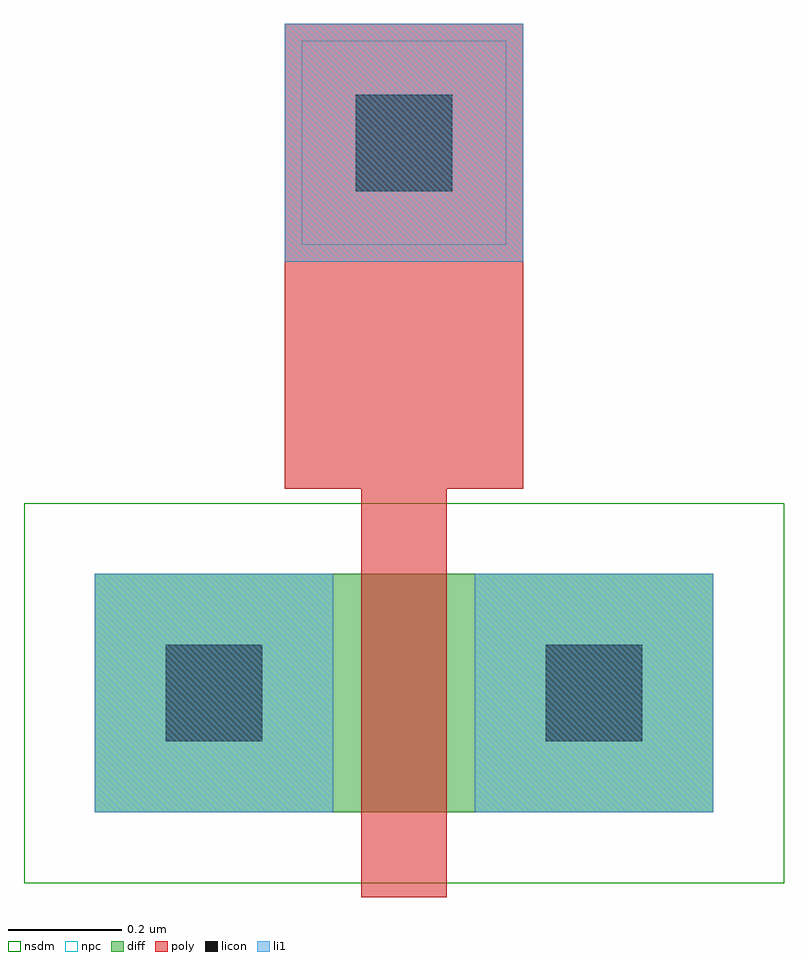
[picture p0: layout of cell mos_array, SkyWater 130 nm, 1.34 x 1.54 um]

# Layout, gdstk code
import gdstk
lib = gdstk.Library(unit=1e-6, precision=1e-09)
def R(c, l, rs):  # rectangles x0, y0, x1, y1
    for r in rs: c.add(gdstk.rectangle(r[:2], r[2:], *l))
diff = (65, 20)
poly = (66, 20)
licon = (66, 44)
li1 = (67, 20)
nsdm = (93, 44)
npc = (95, 20)

mos_array = lib.new_cell('mos_array')
R(mos_array, diff, [(0,0,1.09,0.42)])
R(mos_array, poly, [(0.47,-0.15,0.62,0.42), (0.47,0.42,0.62,0.57), (0.47,0.42,0.62,0.57), (0.335,0.57,0.755,1.39)])
R(mos_array, licon, [(0.125,0.125,0.295,0.295), (0.795,0.125,0.965,0.295), (0.46,1.095,0.63,1.265)])
R(mos_array, li1, [(0,0,0.42,0.42), (0.67,0,1.09,0.42), (0.335,0.97,0.755,1.39)])
R(mos_array, nsdm, [(-0.125,-0.125,1.215,0.545)])
R(mos_array, npc, [(0.365,1,0.725,1.36)])

lib.write_gds('mos_array.gds')
